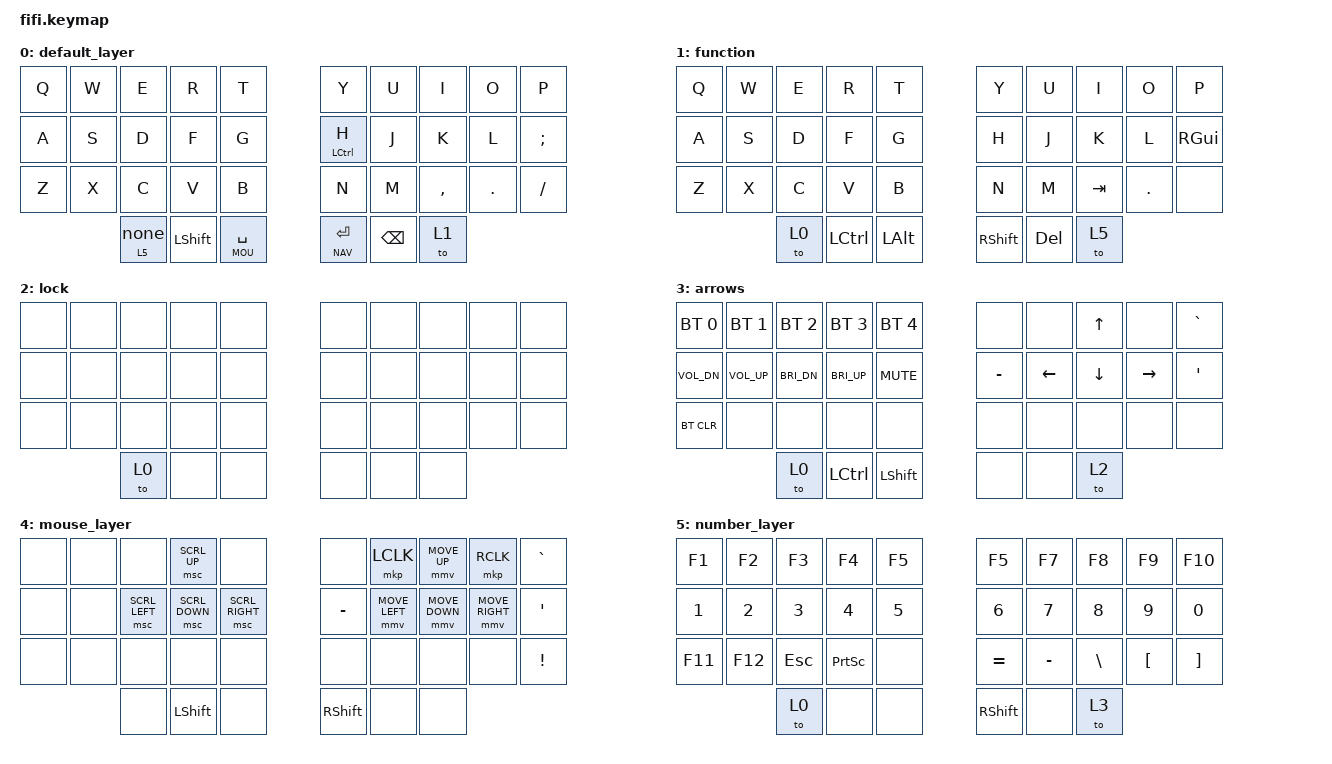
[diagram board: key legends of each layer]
#include <behaviors.dtsi>
#include <dt-bindings/zmk/keys.h>
#include <dt-bindings/zmk/bt.h>
#include <dt-bindings/zmk/ext_power.h>
#include <dt-bindings/zmk/outputs.h>
#include <dt-bindings/zmk/pointing.h>

#define DEF 0
#define FUN 1
#define LOC 2
#define NAV 3
#define MOU 4
#define NUM 5

&lt {
  tapping-term-ms = <150>;
  quick_tap_ms = <150>;
};

/ {

  behaviors {
//    td0: tap_dance_0 {
//      compatible = "zmk,behavior-tap-dance";
//      label = "TAP_DANCE_0";
//      #binding-cells = <0>;
//      tapping-term-ms = <200>;
//      bindings = <&kp LSHIFT>, <&kp LCTRL>;
//    };
    hn: hold_none{
      compatible = "zmk,behavior-hold-tap";
      label = "HOLD_NONE";
      #binding-cells = <2>;
      tapping-term-ms = <150>;
      quick_tap_ms = <150>;
      flavor = "tap-preferred";
      bindings = <&mo>, <&none>;
    };
  };

  keymap {
    compatible = "zmk,keymap";
//done
    default_layer { 
      bindings = <
 &kp Q      &kp W      &kp E       &kp R        &kp T          &kp Y       &kp U         &kp I       &kp O      &kp P
 &kp A      &kp S      &kp D       &kp F        &kp G          &mt LCTRL H &kp J         &kp K       &kp L      &kp SEMI
 &kp Z      &kp X      &kp C       &kp V        &kp B          &kp N       &kp M         &kp COMMA   &kp DOT    &kp FSLH
                       &hn 5 0     &kp LSHIFT   &lt MOU SPACE  &lt NAV RET &kp BSPC      &to 1
      >;
    };
//done
    function {
      bindings = <
 &kp Q      &kp W      &kp E       &kp R        &kp T      &kp Y       &kp U         &kp I       &kp O      &kp P
 &kp A      &kp S      &kp D       &kp F        &kp G      &kp H       &kp J         &kp K       &kp L      &kp RGUI
 &kp Z      &kp X      &kp C       &kp V        &kp B      &kp N       &kp M         &kp TAB     &kp DOT    &none
                       &to 0       &kp LCTRL    &kp LALT   &kp RSHIFT  &kp DEL       &to 5
      >;
    };
//done
    lock {
      bindings = <
 &none  &none &none     &none  &none        &none  &none  &none &none &none
 &none  &none &none     &none  &none        &none  &none  &none &none &none
 &none  &none &none     &none  &none        &none  &none  &none &none &none
              &to 0     &none  &none        &none  &none  &none
      >;
    };
//done
    arrows {
      bindings = <
 &bt BT_SEL 0  &bt BT_SEL 1 &bt BT_SEL 2    &bt BT_SEL 3  &bt BT_SEL 4      &none      &none     &kp UP   &none     &kp GRAVE
 &kp C_VOL_DN  &kp C_VOL_UP &kp C_BRI_DN    &kp C_BRI_UP  &kp C_MUTE        &kp MINUS  &kp LEFT  &kp DOWN &kp RIGHT &kp SQT
 &bt BT_CLR    &none        &none           &none         &none             &none      &none     &none    &none     &none
                            &to 0           &kp LCTRL     &kp LSHIFT        &none      &none     &to 2
      >;
    };
//done missing mouse keys
    mouse_layer {
      bindings = <
 &none  &none &none           &msc SCRL_UP      &none            &none       &mkp LCLK       &mmv MOVE_UP      &mkp RCLK      &kp GRAVE
 &none  &none &msc SCRL_LEFT  &msc SCRL_DOWN    &msc SCRL_RIGHT  &kp MINUS   &mmv MOVE_LEFT  &mmv MOVE_DOWN    &mmv MOVE_RIGHT &kp SQT
 &none  &none &none           &none             &none            &none       &none           &none             &none           &kp EXCL
              &none           &kp LSHIFT        &none            &kp RSHIFT  &none           &none
      >;
    };
//done
    number_layer {
      bindings = <
 &kp F1   &kp F2  &kp F3     &kp F4     &kp F5        &kp F5      &kp F7     &kp F8   &kp F9   &kp F10
 &kp N1   &kp N2  &kp N3     &kp N4     &kp N5        &kp N6      &kp N7     &kp N8   &kp N9   &kp N0
 &kp F11  &kp F12 &kp ESC    &kp PSCRN  &none         &kp EQUAL   &kp MINUS  &kp BSLH &kp LBKT &kp RBKT
                  &to 0      &none      &none         &kp RSHIFT  &none      &to 3
      >;
    };

  };
};
